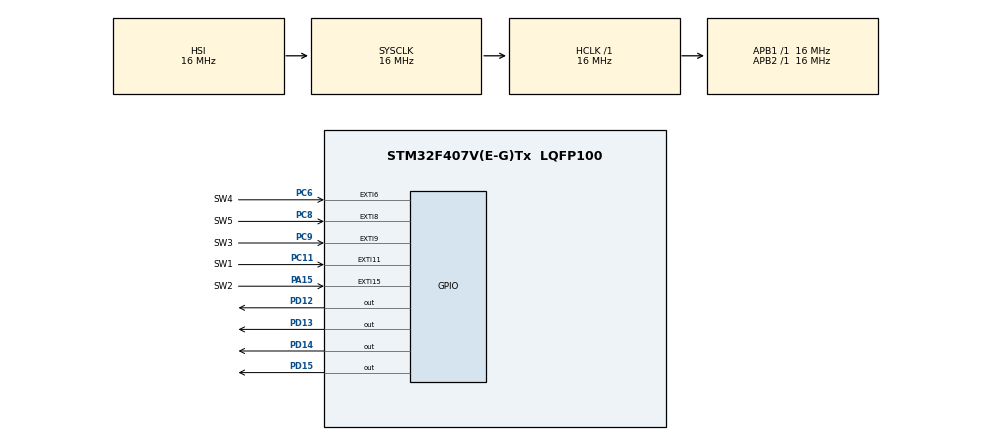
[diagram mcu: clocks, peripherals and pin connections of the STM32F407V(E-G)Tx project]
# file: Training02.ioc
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Mcu.Family=STM32F4
Mcu.Name=STM32F407V(E-G)Tx
Mcu.Package=LQFP100
NVIC.EXTI15_10_IRQn=true\:0\:0\:false\:false\:true\:true\:true\:true
NVIC.EXTI9_5_IRQn=true\:0\:0\:false\:false\:true\:true\:true\:true
NVIC.PriorityGroup=NVIC_PRIORITYGROUP_4
NVIC.TIM6_DAC_IRQn=true\:0\:0\:false\:false\:true\:true\:true\:true
PA15.GPIO_Label=SW2
PA15.GPIO_ModeDefaultEXTI=GPIO_MODE_IT_FALLING
PA15.GPIO_PuPd=GPIO_PULLUP
PA15.Signal=GPXTI15
PC11.GPIO_Label=SW1
PC11.GPIO_ModeDefaultEXTI=GPIO_MODE_IT_FALLING
PC11.GPIO_PuPd=GPIO_PULLUP
PC11.Signal=GPXTI11
PC6.GPIO_Label=SW4
PC6.GPIO_ModeDefaultEXTI=GPIO_MODE_IT_FALLING
PC6.GPIO_PuPd=GPIO_PULLUP
PC6.Signal=GPXTI6
PC8.GPIO_Label=SW5
PC8.GPIO_ModeDefaultEXTI=GPIO_MODE_IT_FALLING
PC8.GPIO_PuPd=GPIO_PULLUP
PC8.Signal=GPXTI8
PC9.GPIO_Label=SW3
PC9.GPIO_ModeDefaultEXTI=GPIO_MODE_IT_FALLING
PC9.GPIO_PuPd=GPIO_PULLUP
PC9.Signal=GPXTI9
PD12.Signal=GPIO_Output
PD13.Signal=GPIO_Output
PD14.Signal=GPIO_Output
PD15.Signal=GPIO_Output
ProjectManager.HeapSize=0x200
ProjectManager.StackSize=0x400
ProjectManager.TargetToolchain=STM32CubeIDE
RCC.AHBFreq_Value=16000000
RCC.APB1Freq_Value=16000000
RCC.APB2Freq_Value=16000000
RCC.CortexFreq_Value=16000000
RCC.HSE_VALUE=25000000
RCC.HSI_VALUE=16000000
RCC.LSE_VALUE=32768
RCC.SYSCLKFreq_VALUE=16000000
RCC.VCOOutputFreq_Value=192000000
TIM6.Period=1000
TIM6.Prescaler=15
VP_TIM6_VS_ClockSourceINT.Mode=Enable_Timer
board=custom

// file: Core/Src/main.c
/* USER CODE BEGIN Header */
/**
  ******************************************************************************
  * @file           : main.c
  * @brief          : Main program body
  ******************************************************************************
  * @attention
  *
  * Copyright (c) 2023 STMicroelectronics.
  * All rights reserved.
  *
  * This software is licensed under terms that can be found in the LICENSE file
  * in the root directory of this software component.
  * If no LICENSE file comes with this software, it is provided AS-IS.
  *
  ******************************************************************************
  */
/* USER CODE END Header */
#include "main.h"

/* USER CODE BEGIN Includes */
#include "led.h"
#include "button.h"
/* USER CODE END Includes */

/* USER CODE BEGIN PD */
#define LEDQUANTITY 4
#define GREEN 1
#define ORANGE 2
#define RED 3
#define BLUE 4
/* USER CODE END PD */

TIM_HandleTypeDef htim6;

/* USER CODE BEGIN PV */

const uint32_t LED_QUANTITY=LEDQUANTITY;
LED leds[LEDQUANTITY];
uint32_t SW13Flag=0;
volatile uint32_t SW2Flag=1;
volatile uint32_t SW45Flag=0;
volatile uint32_t counter=0;
volatile uint32_t tempcounter=0;
volatile uint32_t LedFlags[LEDQUANTITY]={0};

/* USER CODE END PV */

void SystemClock_Config(void);
static void MX_GPIO_Init(void);
static void MX_TIM6_Init(void);
/* USER CODE BEGIN PFP */
void bsp_process_leds(void);
/* USER CODE END PFP */

int main(void)
{

  /* MCU Configuration--------------------------------------------------------*/

  /* Reset of all peripherals, Initializes the Flash interface and the Systick. */
  HAL_Init();

  /* Configure the system clock */
  SystemClock_Config();

  /* Initialize all configured peripherals */
  MX_GPIO_Init();
  MX_TIM6_Init();
  /* USER CODE BEGIN 2 */
  HAL_TIM_Base_Start_IT(&htim6);

    leds[0].port=GPIOD;
    leds[0].pin=GPIO_PIN_12;
    leds[0].color=GREEN;
    leds[0].startpoint=200;
    leds[0].DutyCycle=1000;
    leds[0].period=2000;
    leds[0].pLedHandle=LedHandle;

    leds[1].port=GPIOD;
    leds[1].pin=GPIO_PIN_13;
    leds[1].color=ORANGE;
    leds[1].startpoint=400;
    leds[1].DutyCycle=1000;
    leds[1].period=2000;
    leds[1].pLedHandle=LedHandle;

    leds[2].port=GPIOD;
    leds[2].pin=GPIO_PIN_14;
    leds[2].color=RED;
    leds[2].startpoint=600;
    leds[2].DutyCycle=1000;
    leds[2].period=2000;
    leds[2].pLedHandle=LedHandle;

    leds[3].port=GPIOD;
    leds[3].pin=GPIO_PIN_15;
    leds[3].color=BLUE;
    leds[3].startpoint=800;
    leds[3].DutyCycle=1000;
    leds[3].period=2000;
    leds[3].pLedHandle=LedHandle;

  /* USER CODE END 2 */

  /* Infinite loop */
  /* USER CODE BEGIN WHILE */

  while (1)
  {
     bsp_process_leds();

    /* USER CODE END WHILE */

  }
}

void SystemClock_Config(void)
{
  RCC_OscInitTypeDef RCC_OscInitStruct = {0};
  RCC_ClkInitTypeDef RCC_ClkInitStruct = {0};

  /** Configure the main internal regulator output voltage
  */
  __HAL_RCC_PWR_CLK_ENABLE();
  __HAL_PWR_VOLTAGESCALING_CONFIG(PWR_REGULATOR_VOLTAGE_SCALE1);

  /** Initializes the RCC Oscillators according to the specified parameters
  * in the RCC_OscInitTypeDef structure.
  */
  RCC_OscInitStruct.OscillatorType = RCC_OSCILLATORTYPE_HSI;
  RCC_OscInitStruct.HSIState = RCC_HSI_ON;
  RCC_OscInitStruct.HSICalibrationValue = RCC_HSICALIBRATION_DEFAULT;
  RCC_OscInitStruct.PLL.PLLState = RCC_PLL_NONE;
  if (HAL_RCC_OscConfig(&RCC_OscInitStruct) != HAL_OK)
  {
    Error_Handler();
  }

  /** Initializes the CPU, AHB and APB buses clocks
  */
  RCC_ClkInitStruct.ClockType = RCC_CLOCKTYPE_HCLK|RCC_CLOCKTYPE_SYSCLK
                              |RCC_CLOCKTYPE_PCLK1|RCC_CLOCKTYPE_PCLK2;
  RCC_ClkInitStruct.SYSCLKSource = RCC_SYSCLKSOURCE_HSI;
  RCC_ClkInitStruct.AHBCLKDivider = RCC_SYSCLK_DIV1;
  RCC_ClkInitStruct.APB1CLKDivider = RCC_HCLK_DIV1;
  RCC_ClkInitStruct.APB2CLKDivider = RCC_HCLK_DIV1;

  if (HAL_RCC_ClockConfig(&RCC_ClkInitStruct, FLASH_LATENCY_0) != HAL_OK)
  {
    Error_Handler();
  }
}

static void MX_TIM6_Init(void)
{

  TIM_MasterConfigTypeDef sMasterConfig = {0};

  htim6.Instance = TIM6;
  htim6.Init.Prescaler = 15;
  htim6.Init.CounterMode = TIM_COUNTERMODE_UP;
  htim6.Init.Period = 1000;
  htim6.Init.AutoReloadPreload = TIM_AUTORELOAD_PRELOAD_DISABLE;
  if (HAL_TIM_Base_Init(&htim6) != HAL_OK)
  {
    Error_Handler();
  }
  sMasterConfig.MasterOutputTrigger = TIM_TRGO_RESET;
  sMasterConfig.MasterSlaveMode = TIM_MASTERSLAVEMODE_DISABLE;
  if (HAL_TIMEx_MasterConfigSynchronization(&htim6, &sMasterConfig) != HAL_OK)
  {
    Error_Handler();
  }

}

static void MX_GPIO_Init(void)
{
  GPIO_InitTypeDef GPIO_InitStruct = {0};

  /* GPIO Ports Clock Enable */
  __HAL_RCC_GPIOD_CLK_ENABLE();
  __HAL_RCC_GPIOC_CLK_ENABLE();
  __HAL_RCC_GPIOA_CLK_ENABLE();

  /*Configure GPIO pin Output Level */
  HAL_GPIO_WritePin(GPIOD, GPIO_PIN_12|GPIO_PIN_13|GPIO_PIN_14|GPIO_PIN_15, GPIO_PIN_RESET);

  /*Configure GPIO pins : PD12 PD13 PD14 PD15 */
  GPIO_InitStruct.Pin = GPIO_PIN_12|GPIO_PIN_13|GPIO_PIN_14|GPIO_PIN_15;
  GPIO_InitStruct.Mode = GPIO_MODE_OUTPUT_PP;
  GPIO_InitStruct.Pull = GPIO_NOPULL;
  GPIO_InitStruct.Speed = GPIO_SPEED_FREQ_LOW;
  HAL_GPIO_Init(GPIOD, &GPIO_InitStruct);

  /*Configure GPIO pins : SW4_Pin SW5_Pin SW3_Pin SW1_Pin */
  GPIO_InitStruct.Pin = SW4_Pin|SW5_Pin|SW3_Pin|SW1_Pin;
  GPIO_InitStruct.Mode = GPIO_MODE_IT_FALLING;
  GPIO_InitStruct.Pull = GPIO_PULLUP;
  HAL_GPIO_Init(GPIOC, &GPIO_InitStruct);

  /*Configure GPIO pin : SW2_Pin */
  GPIO_InitStruct.Pin = SW2_Pin;
  GPIO_InitStruct.Mode = GPIO_MODE_IT_FALLING;
  GPIO_InitStruct.Pull = GPIO_PULLUP;
  HAL_GPIO_Init(SW2_GPIO_Port, &GPIO_InitStruct);

  /* EXTI interrupt init*/
  HAL_NVIC_SetPriority(EXTI9_5_IRQn, 0, 0);
  HAL_NVIC_EnableIRQ(EXTI9_5_IRQn);

  HAL_NVIC_SetPriority(EXTI15_10_IRQn, 0, 0);
  HAL_NVIC_EnableIRQ(EXTI15_10_IRQn);

}

/* USER CODE BEGIN 4 */
void bsp_process_leds(void)
 {
	 if (tempcounter<counter)//So, this function is called only 1 time per millisecond
		   	  {
		   	      switch (SW45Flag)
		   	      {
		   	        case 0:
		   	          Scheme1();
		   	          break;
		   	        case 1:
		   	          Scheme2();
		   	          break;
		   	        case 2:
		   	          Scheme3();
		   	          break;
		   	        default:
		   	          break;
		   	      }
		   	      tempcounter=counter;
		   	  }
 }

/* USER CODE END 4 */

void Error_Handler(void)
{
  __disable_irq();
  while (1)
  {
  }
}
